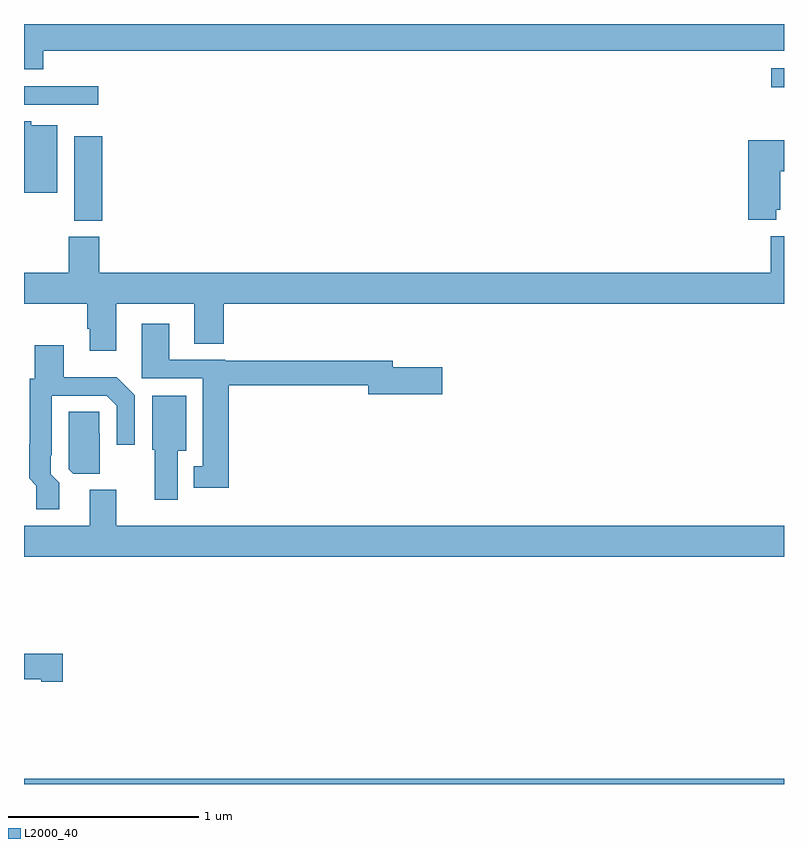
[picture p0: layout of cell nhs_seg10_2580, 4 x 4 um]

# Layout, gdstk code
import gdstk
lib = gdstk.Library(unit=1e-6, precision=1e-09)
def R(c, l, rs):  # rectangles x0, y0, x1, y1
    for r in rs: c.add(gdstk.rectangle(r[:2], r[2:], *l))
def P(c, l, *ps):  # polygons
    for p in ps: c.add(gdstk.Polygon(p, *l))
L2000_40 = (2000, 40)

nhs_seg10_2580 = lib.new_cell('nhs_seg10_2580')
R(nhs_seg10_2580, L2000_40, [(251,1252.5,255,1252.528), (251.264,1255.465,251.411,1255.909), (251,1256.076,251.392,1256.172), (254.934,1256.167,255,1256.268)])
P(nhs_seg10_2580, L2000_40, [(251.102,1256.36),(255,1256.36),(255,1256.5),(251,1256.5),(251,1256.261),(251.102,1256.261)],
  [(251.176,1255.966),(251.037,1255.966),(251.037,1255.987),(251,1255.987),(251,1255.613),(251.176,1255.613)],
  [(254.958,1255.523),(254.98,1255.523),(254.98,1255.726),(255,1255.726),(255,1255.888),(254.813,1255.888),(254.813,1255.469),(254.958,1255.469)],
  [(251.485,1255.028),(251.897,1255.028),(251.897,1254.817),(252.05,1254.817),(252.05,1255.028),(255,1255.028),(255,1255.384),(254.93,1255.384),(254.93,1255.192),(251.396,1255.192),(251.396,1255.38),(251.236,1255.38),(251.236,1255.192),(251,1255.192),(251,1255.028),(251.333,1255.028),(251.333,1254.895),(251.345,1254.895),(251.345,1254.78),(251.485,1254.78)],
  [(252.077,1254.598),(252.812,1254.598),(252.812,1254.551),(253.201,1254.551),(253.201,1254.693),(252.94,1254.693),(252.94,1254.727),(252.06,1254.727),(252.06,1254.732),(251.764,1254.732),(251.764,1254.922),(251.621,1254.922),(251.621,1254.636),(251.942,1254.636),(251.942,1254.173),(251.894,1254.173),(251.894,1254.06),(252.077,1254.06)],
  [(251.185,1254.086),(251.142,1254.129),(251.142,1254.229),(251.145,1254.229),(251.145,1254.543),(251.436,1254.543),(251.487,1254.492),(251.487,1254.285),(251.583,1254.285),(251.583,1254.546),(251.489,1254.64),(251.209,1254.64),(251.209,1254.808),(251.057,1254.808),(251.057,1254.633),(251.029,1254.633),(251.029,1254.29),(251.027,1254.29),(251.027,1254.108),(251.065,1254.069),(251.065,1253.946),(251.185,1253.946)],
  [(251.809,1254.254),(251.854,1254.254),(251.854,1254.544),(251.675,1254.544),(251.675,1254.258),(251.687,1254.258),(251.687,1253.997),(251.809,1253.997)],
  [(251.398,1254.347),(251.397,1254.347),(251.397,1254.458),(251.235,1254.458),(251.235,1254.156),(251.259,1254.133),(251.398,1254.133)],
  [(255,1253.86),(251.485,1253.86),(251.485,1254.048),(251.345,1254.048),(251.345,1253.86),(251,1253.86),(251,1253.696),(255,1253.696)],
  [(251.203,1253.186),(251,1253.186),(251,1253.051),(251.09,1253.051),(251.09,1253.039),(251.203,1253.039)])

lib.write_gds('nhs_seg10_2580.gds')
